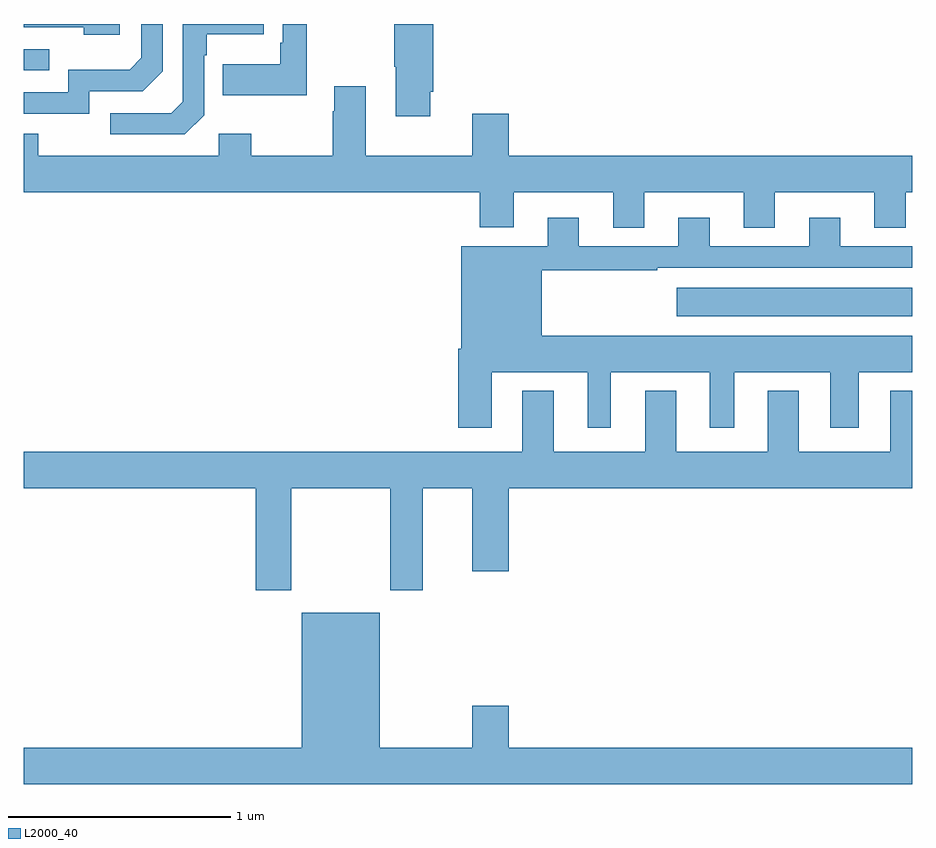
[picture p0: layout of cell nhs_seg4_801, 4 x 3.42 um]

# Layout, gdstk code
import gdstk
lib = gdstk.Library(unit=1e-6, precision=1e-09)
def R(c, l, rs):  # rectangles x0, y0, x1, y1
    for r in rs: c.add(gdstk.rectangle(r[:2], r[2:], *l))
def P(c, l, *ps):  # polygons
    for p in ps: c.add(gdstk.Polygon(p, *l))
L2000_40 = (2000, 40)

nhs_seg4_801 = lib.new_cell('nhs_seg4_801')
R(nhs_seg4_801, L2000_40, [(153.939,805.586,155,805.714), (151,806.691,151.115,806.787)])
P(nhs_seg4_801, L2000_40, [(152.83,806.596),(152.843,806.596),(152.843,806.9),(152.668,806.9),(152.668,806.707),(152.675,806.707),(152.675,806.484),(152.83,806.484)],
  [(152.275,806.9),(152.166,806.9),(152.166,806.815),(152.154,806.815),(152.154,806.719),(151.897,806.719),(151.897,806.579),(152.275,806.579)],
  [(151.296,806.598),(151.536,806.598),(151.626,806.688),(151.626,806.9),(151.53,806.9),(151.53,806.748),(151.477,806.695),(151.2,806.695),(151.2,806.592),(151,806.592),(151,806.496),(151.296,806.496)],
  [(151.432,806.9),(151,806.9),(151,806.886),(151.271,806.886),(151.271,806.852),(151.432,806.852)],
  [(151.812,806.49),(151.812,806.759),(151.825,806.759),(151.825,806.855),(152.081,806.855),(152.081,806.9),(151.716,806.9),(151.716,806.55),(151.665,806.499),(151.389,806.499),(151.389,806.403),(151.725,806.403)],
  [(153.793,806.144),(154.241,806.144),(154.241,805.984),(154.381,805.984),(154.381,806.144),(154.829,806.144),(154.829,805.984),(154.969,805.984),(154.969,806.144),(155,806.144),(155,806.308),(153.184,806.308),(153.184,806.497),(153.02,806.497),(153.02,806.308),(152.539,806.308),(152.539,806.62),(152.399,806.62),(152.399,806.507),(152.392,806.507),(152.392,806.308),(152.025,806.308),(152.025,806.407),(151.878,806.407),(151.878,806.308),(151.065,806.308),(151.065,806.407),(151,806.407),(151,806.144),(153.053,806.144),(153.053,805.985),(153.205,805.985),(153.205,806.144),(153.653,806.144),(153.653,805.984),(153.793,805.984)],
  [(153.106,805.334),(153.539,805.334),(153.539,805.083),(153.643,805.083),(153.643,805.334),(154.088,805.334),(154.088,805.083),(154.198,805.083),(154.198,805.334),(154.631,805.334),(154.631,805.083),(154.759,805.083),(154.759,805.334),(155,805.334),(155,805.498),(153.331,805.498),(153.331,805.791),(153.851,805.791),(153.851,805.803),(155,805.803),(155,805.899),(154.675,805.899),(154.675,806.029),(154.535,806.029),(154.535,805.899),(154.087,805.899),(154.087,806.029),(153.947,806.029),(153.947,805.899),(153.499,805.899),(153.499,806.029),(153.359,806.029),(153.359,805.9),(152.969,805.9),(152.969,805.438),(152.957,805.438),(152.957,805.083),(153.106,805.083)],
  [(152.205,804.812),(152.65,804.812),(152.65,804.351),(152.797,804.351),(152.797,804.812),(153.02,804.812),(153.02,804.438),(153.184,804.438),(153.184,804.812),(155,804.812),(155,805.249),(154.901,805.249),(154.901,804.976),(154.489,804.976),(154.489,805.249),(154.349,805.249),(154.349,804.976),(153.937,804.976),(153.937,805.249),(153.797,805.249),(153.797,804.976),(153.385,804.976),(153.385,805.249),(153.245,805.249),(153.245,804.976),(151,804.976),(151,804.812),(152.045,804.812),(152.045,804.351),(152.205,804.351)],
  [(155,803.644),(153.184,803.644),(153.184,803.833),(153.02,803.833),(153.02,803.644),(152.602,803.644),(152.602,804.25),(152.252,804.25),(152.252,803.644),(151,803.644),(151,803.48),(155,803.48)])

lib.write_gds('nhs_seg4_801.gds')
